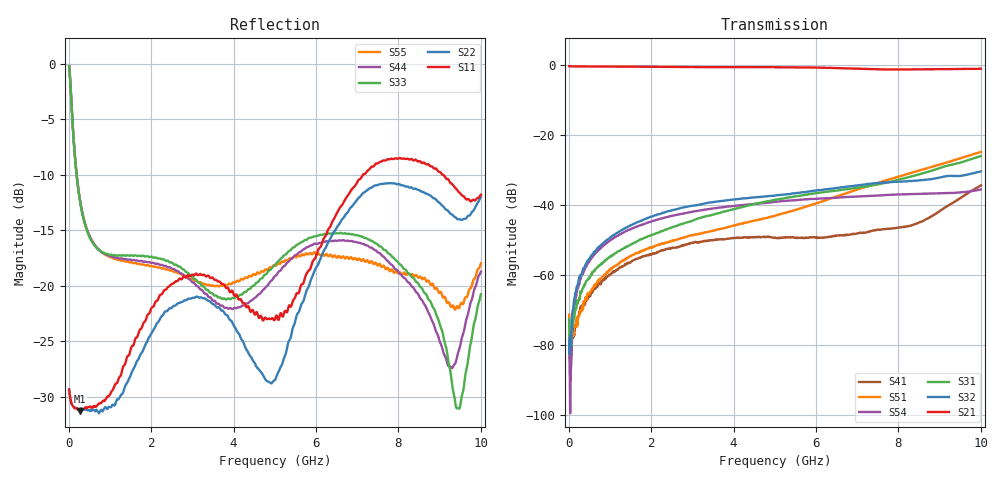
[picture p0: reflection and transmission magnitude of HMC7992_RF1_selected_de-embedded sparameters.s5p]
! Device:	HMC7992
! Description:	Silicon MMIC SP4T Non-Reflective Switch
! Package:	LP3E - 16 pin 3x3mm QFN plastic package
! Frequency:	0.1 -  6 GHz
! Ports:
! RFC = Port 1
! RF1 = Port 2
! RF2 = Port 3
! RF3 = Port 4
! RF4 = Port 5
! State: RF1 Selected
! Supply Voltage:
! Vdd = 5 V
! Control Voltages:
! VA  = 0 V
! VB  = 0 V
! Data:	Data was collected using a calibrated network analyzer with AFR software.
!	Fixtures were calculated using AFR and fixturing was applied to collect
!	this Deembedded  S Parameter data of HMC7992.
! Note:	Analog Devices supplies this data as a sample of measured data at the package pin
!	for this product.  Your particular data for this product may vary.
!	Data was taken at 25 degrees C.
!	Analog Devices reserves the right to change this data at anytime.
# GHz S  dB  R 50
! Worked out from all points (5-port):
!   801 points, 10 MHz to 10 GHz, reference 50 ohm
!   strongest paths, dB at 10 MHz, 2.507 GHz, 5.005 GHz, 7.503 GHz, 10 GHz:
!     S21: -0.5, -0.7, -0.7, -1.4, -1.2
!     S32: -78.7, -41.5, -37.4, -33.8, -30.5
!     S31: -72.7, -46.4, -38.6, -34.1, -26.1
!     S54: -78.0, -43.1, -39.1, -37.3, -35.6
!     S51: -71.3, -50.3, -43.1, -33.7, -24.9
!     S41: -83.6, -52.3, -49.4, -47.0, -34.5
!   lowest |S11| = -31.3 dB at 272.2 MHz (marker M1), VSWR 1.06, Z = 52.8 - j0.453 ohm
!   |S11| at or under -10 dB: start of sweep to 7.141 GHz; 9.069 GHz to end of sweep
